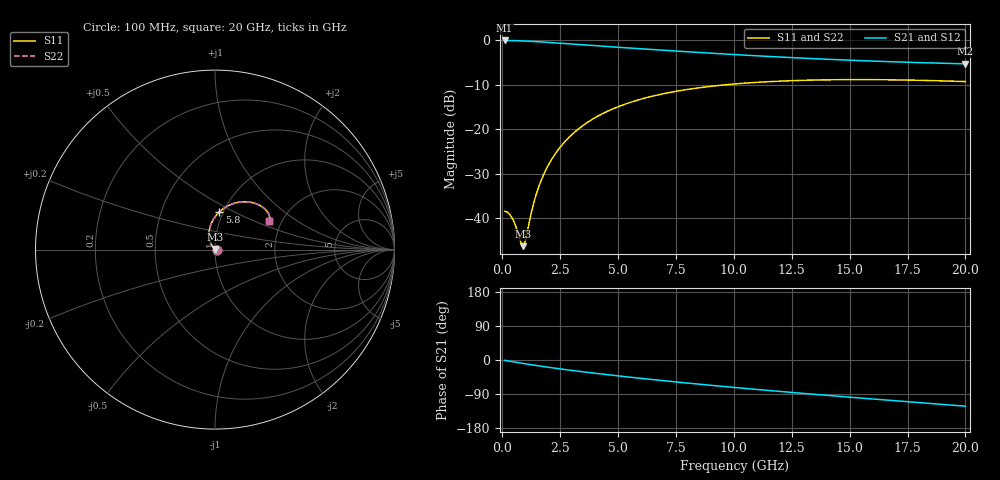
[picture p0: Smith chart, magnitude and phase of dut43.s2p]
! Created with skrf 1.9.0 (http://scikit-rf.org).
# GHz S RI R 50.0
!freq ReS11 ImS11 ReS21 ImS21 ReS12 ImS12 ReS22 ImS22
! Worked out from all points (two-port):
!   200 points, 100 MHz to 20 GHz, reference 50 ohm
!   highest |S21| = -0.11 dB at 100 MHz (marker M1); lowest = -5.3 dB at 20 GHz (marker M2)
!   |S21| within 3 dB of the highest: start of sweep to 9.474 GHz
!   lowest |S11| = -46.2 dB at 900 MHz (marker M3), VSWR 1.01, Z = 50.2 + j0.428 ohm
!   |S11| at or under -10 dB: start of sweep to 9.735 GHz
!   |S22| runs from -46.2 to -8.9 dB; largest |S21 - S12| = 2.3e-15
!   S11 on the Smith chart (normalised r, x): 100 MHz: 1.02, +0.00; 5.8 GHz: 0.96, +0.42; 20 GHz: 1.73, +0.62
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0.1  0.012 0.000491  0.9876 -0.0182  0.9876 -0.0182  0.012 0.000491
0.2  0.0118 0.000494  0.9864 -0.0359  0.9864 -0.0359  0.0118 0.000494
0.4  0.0103 0.000793  0.9825 -0.0709  0.9825 -0.0709  0.0103 0.000793
0.6  0.00777 0.00162  0.9763 -0.1054  0.9763 -0.1054  0.00777 0.00162
0.8  0.00435 0.00317  0.968 -0.1388  0.968 -0.1388  0.00435 0.00317
0.9  0.00237 0.00426  0.9631 -0.1551  0.9631 -0.1551  0.00237 0.00426
1  0.000247 0.0056  0.9578 -0.171  0.9578 -0.171  0.000247 0.0056
1.2  -0.00431 0.00903  0.9459 -0.2019  0.9459 -0.2019  -0.00431 0.00903
1.4  -0.00908 0.0135  0.9326 -0.2314  0.9326 -0.2314  -0.00908 0.0135
1.6  -0.0138 0.0191  0.9181 -0.2593  0.9181 -0.2593  -0.0138 0.0191
1.9  -0.0205 0.0292  0.8946 -0.2984  0.8946 -0.2984  -0.0205 0.0292
2.2  -0.0262 0.0413  0.8696 -0.3343  0.8696 -0.3343  -0.0262 0.0413
2.6  -0.0314 0.0598  0.8347 -0.3774  0.8347 -0.3774  -0.0314 0.0598
3.5  -0.0321 0.106  0.7532 -0.4579  0.7532 -0.4579  -0.0321 0.106
4.5  -0.016 0.1561  0.6618 -0.5261  0.6618 -0.5261  -0.016 0.1561
5.8  0.0231 0.2088  0.5448 -0.589  0.5448 -0.589  0.0231 0.2088
6.8  0.0604 0.2371  0.4579 -0.6212  0.4579 -0.6212  0.0604 0.2371
8.3  0.1187 0.2608  0.3347 -0.6481  0.3347 -0.6481  0.1187 0.2608
10.1  0.1824 0.2657  0.2011 -0.6541  0.2011 -0.6541  0.1824 0.2657
13.4  0.2648 0.2367  -0.00189 -0.618  -0.00189 -0.618  0.2648 0.2367
16.7  0.3013 0.1928  -0.1599 -0.5485  -0.1599 -0.5485  0.3013 0.1928
20  0.3032 0.1578  -0.2855 -0.4587  -0.2855 -0.4587  0.3032 0.1578
